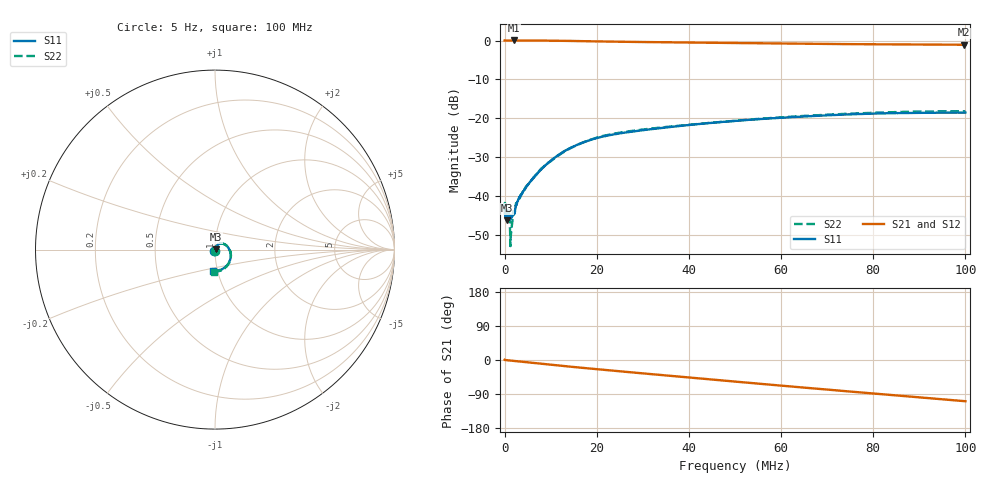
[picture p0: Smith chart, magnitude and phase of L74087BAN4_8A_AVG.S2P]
!Agilent Technologies,E5061B,MY49102235,A.02.00
!Date: Tue Jul 11 16:18:27 2023
!Data & Calibration Information:
!Freq	S11:SOLT2(ON)	S21:SOLT2(ON)	S12:SOLT2(ON)	S22:SOLT2(ON)
# Hz S RI R 50
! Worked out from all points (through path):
!   1600 points, 5 Hz to 100 MHz, reference 50 ohm
!   highest |S21| = 0.02 dB at 2.001 MHz (marker M1); lowest = -1.1 dB at 99.75 MHz (marker M2)
!   group delay of S21, straight-line fit = 2.99 ns
!   lowest |S11| = -46.3 dB at 500.3 kHz (marker M3), VSWR 1.01, Z = 50.5 + j0.142 ohm
!   |S11| at or under -10 dB: start of sweep to end of sweep
!   |S22| runs from -52.9 to -18.2 dB; largest |S21 - S12| = 0.0025
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5  -0.00519 -0.00563  1.002 0.00808  1 0.0102  -0.00156 -0.00755
500317.7  0.00463 0.00141  1.001 -0.00949  1.002 -0.00947  0.00483 -0.000195
625395.8  0.00516 0.00171  1.002 -0.0127  1.002 -0.0123  0.00616 0.00132
1000630  0.00389 0.00296  1.001 -0.0201  1.001 -0.0198  0.00525 0.00205
1313326  0.00467 0.00272  1.001 -0.0263  1.001 -0.0266  0.00288 0.00114
1688560  0.00411 0.0036  1 -0.0354  1.001 -0.0356  0.00385 0.00276
2001256  0.0034 0.00468  1.001 -0.0424  1.001 -0.0421  0.00354 0.00495
2251412  0.00369 0.00506  1 -0.0483  0.9999 -0.0473  0.00415 0.00583
2626647  0.00472 0.00641  0.999 -0.0558  0.9983 -0.0556  0.00407 0.00675
3126959  0.00522 0.00788  0.9985 -0.0663  0.9984 -0.0663  0.00408 0.00809
4190124  0.00549 0.0105  0.9967 -0.089  0.9966 -0.0888  0.00482 0.0108
5878679  0.00659 0.0146  0.9927 -0.1251  0.9927 -0.1251  0.006 0.0149
7879930  0.00872 0.02  0.9853 -0.1685  0.9852 -0.1685  0.00834 0.0207
1.219513e7  0.0189 0.0297  0.9589 -0.2584  0.9586 -0.2582  0.0176 0.0301
1.669794e7  0.0338 0.034  0.9202 -0.3433  0.9202 -0.3432  0.0333 0.0343
2.332708e7  0.0541 0.0293  0.8556 -0.4535  0.8554 -0.4534  0.0558 0.0285
3.333334e7  0.0733 0.0116  0.7407 -0.5978  0.7407 -0.5976  0.0745 0.011
5.003127e7  0.0882 -0.0286  0.5066 -0.7794  0.5066 -0.7793  0.0886 -0.0288
6.672921e7  0.076 -0.0747  0.2398 -0.8759  0.24 -0.8759  0.0783 -0.0753
8.33646e7  0.0407 -0.1086  -0.0286 -0.8907  -0.0286 -0.8908  0.0425 -0.1116
9.974984e7  -0.00818 -0.118  -0.2804 -0.8368  -0.2802 -0.8369  -0.00711 -0.1226
1e8  -0.00886 -0.118  -0.2841 -0.8356  -0.284 -0.8356  -0.00797 -0.1225
